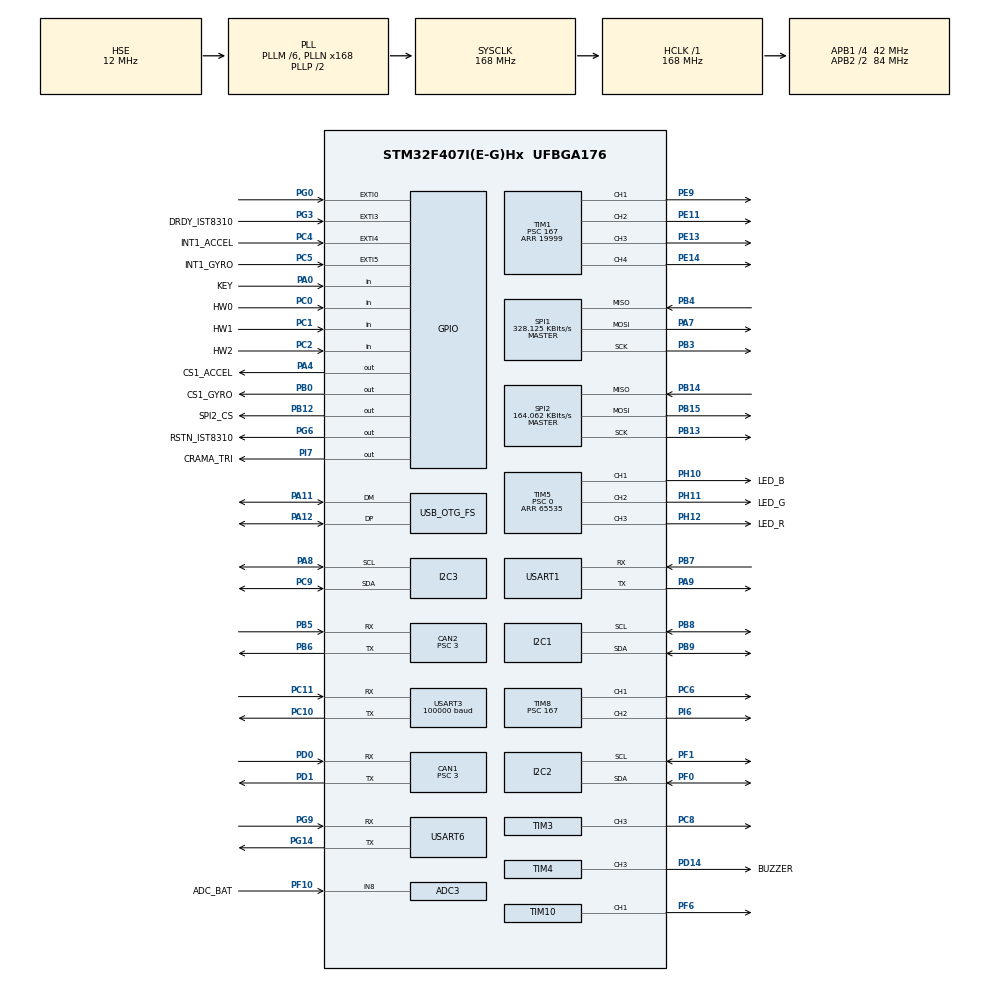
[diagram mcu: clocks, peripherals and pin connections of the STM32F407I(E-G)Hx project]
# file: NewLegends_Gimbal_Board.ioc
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ADC1.Channel-0\#ChannelRegularConversion=ADC_CHANNEL_TEMPSENSOR
ADC1.ClockPrescaler=ADC_CLOCK_SYNC_PCLK_DIV6
ADC1.NbrOfConversionFlag=1
ADC1.Rank-0\#ChannelRegularConversion=1
ADC1.SamplingTime-0\#ChannelRegularConversion=ADC_SAMPLETIME_3CYCLES
ADC1.master=1
ADC3.Channel-0\#ChannelRegularConversion=ADC_CHANNEL_8
ADC3.ClockPrescaler=ADC_CLOCK_SYNC_PCLK_DIV6
ADC3.NbrOfConversionFlag=1
ADC3.Rank-0\#ChannelRegularConversion=1
ADC3.SamplingTime-0\#ChannelRegularConversion=ADC_SAMPLETIME_3CYCLES
CAN1.BS1=CAN_BS1_10TQ
CAN1.BS2=CAN_BS2_3TQ
CAN1.CalculateBaudRate=1000000
CAN1.CalculateTimeBit=1000
CAN1.CalculateTimeQuantum=71.42857142857143
CAN1.Prescaler=3
CAN2.BS1=CAN_BS1_10TQ
CAN2.BS2=CAN_BS2_3TQ
CAN2.CalculateBaudRate=1000000
CAN2.CalculateTimeBit=1000
CAN2.CalculateTimeQuantum=71.42857142857143
CAN2.Prescaler=3
Dma.I2C2_TX.2.Direction=DMA_MEMORY_TO_PERIPH
Dma.I2C2_TX.2.FIFOMode=DMA_FIFOMODE_DISABLE
Dma.I2C2_TX.2.Instance=DMA1_Stream7
Dma.I2C2_TX.2.MemDataAlignment=DMA_MDATAALIGN_BYTE
Dma.I2C2_TX.2.MemInc=DMA_MINC_ENABLE
Dma.I2C2_TX.2.Mode=DMA_NORMAL
Dma.I2C2_TX.2.PeriphDataAlignment=DMA_PDATAALIGN_BYTE
Dma.I2C2_TX.2.PeriphInc=DMA_PINC_DISABLE
Dma.I2C2_TX.2.Priority=DMA_PRIORITY_HIGH
Dma.Request0=SPI1_RX
Dma.Request1=SPI1_TX
Dma.Request2=I2C2_TX
Dma.Request3=USART3_RX
Dma.Request4=USART6_RX
Dma.Request5=USART6_TX
Dma.Request6=USART1_TX
Dma.Request7=USART1_RX
Dma.SPI1_RX.0.Direction=DMA_PERIPH_TO_MEMORY
Dma.SPI1_RX.0.FIFOMode=DMA_FIFOMODE_DISABLE
Dma.SPI1_RX.0.Instance=DMA2_Stream2
Dma.SPI1_RX.0.MemDataAlignment=DMA_MDATAALIGN_BYTE
Dma.SPI1_RX.0.MemInc=DMA_MINC_ENABLE
Dma.SPI1_RX.0.Mode=DMA_NORMAL
Dma.SPI1_RX.0.PeriphDataAlignment=DMA_PDATAALIGN_BYTE
Dma.SPI1_RX.0.PeriphInc=DMA_PINC_DISABLE
Dma.SPI1_RX.0.Priority=DMA_PRIORITY_VERY_HIGH
Dma.SPI1_TX.1.Direction=DMA_MEMORY_TO_PERIPH
Dma.SPI1_TX.1.FIFOMode=DMA_FIFOMODE_DISABLE
Dma.SPI1_TX.1.Instance=DMA2_Stream3
Dma.SPI1_TX.1.MemDataAlignment=DMA_MDATAALIGN_BYTE
Dma.SPI1_TX.1.MemInc=DMA_MINC_ENABLE
Dma.SPI1_TX.1.Mode=DMA_NORMAL
Dma.SPI1_TX.1.PeriphDataAlignment=DMA_PDATAALIGN_BYTE
Dma.SPI1_TX.1.PeriphInc=DMA_PINC_DISABLE
Dma.SPI1_TX.1.Priority=DMA_PRIORITY_HIGH
Dma.USART1_RX.7.Direction=DMA_PERIPH_TO_MEMORY
Dma.USART1_RX.7.FIFOMode=DMA_FIFOMODE_DISABLE
Dma.USART1_RX.7.Instance=DMA2_Stream5
Dma.USART1_RX.7.MemDataAlignment=DMA_MDATAALIGN_BYTE
Dma.USART1_RX.7.MemInc=DMA_MINC_ENABLE
Dma.USART1_RX.7.Mode=DMA_NORMAL
Dma.USART1_RX.7.PeriphDataAlignment=DMA_PDATAALIGN_BYTE
Dma.USART1_RX.7.PeriphInc=DMA_PINC_DISABLE
Dma.USART1_RX.7.Priority=DMA_PRIORITY_VERY_HIGH
Dma.USART1_TX.6.Direction=DMA_MEMORY_TO_PERIPH
Dma.USART1_TX.6.FIFOMode=DMA_FIFOMODE_DISABLE
Dma.USART1_TX.6.Instance=DMA2_Stream7
Dma.USART1_TX.6.MemDataAlignment=DMA_MDATAALIGN_BYTE
Dma.USART1_TX.6.MemInc=DMA_MINC_ENABLE
Dma.USART1_TX.6.Mode=DMA_NORMAL
Dma.USART1_TX.6.PeriphDataAlignment=DMA_PDATAALIGN_BYTE
Dma.USART1_TX.6.PeriphInc=DMA_PINC_DISABLE
Dma.USART1_TX.6.Priority=DMA_PRIORITY_MEDIUM
Dma.USART3_RX.3.Direction=DMA_PERIPH_TO_MEMORY
Dma.USART3_RX.3.FIFOMode=DMA_FIFOMODE_DISABLE
Dma.USART3_RX.3.Instance=DMA1_Stream1
Dma.USART3_RX.3.MemDataAlignment=DMA_MDATAALIGN_BYTE
Dma.USART3_RX.3.MemInc=DMA_MINC_ENABLE
Dma.USART3_RX.3.Mode=DMA_NORMAL
Dma.USART3_RX.3.PeriphDataAlignment=DMA_PDATAALIGN_BYTE
Dma.USART3_RX.3.PeriphInc=DMA_PINC_DISABLE
Dma.USART3_RX.3.Priority=DMA_PRIORITY_HIGH
Dma.USART6_RX.4.Direction=DMA_PERIPH_TO_MEMORY
Dma.USART6_RX.4.FIFOMode=DMA_FIFOMODE_DISABLE
Dma.USART6_RX.4.Instance=DMA2_Stream1
Dma.USART6_RX.4.MemDataAlignment=DMA_MDATAALIGN_BYTE
Dma.USART6_RX.4.MemInc=DMA_MINC_ENABLE
Dma.USART6_RX.4.Mode=DMA_NORMAL
Dma.USART6_RX.4.PeriphDataAlignment=DMA_PDATAALIGN_BYTE
Dma.USART6_RX.4.PeriphInc=DMA_PINC_DISABLE
Dma.USART6_RX.4.Priority=DMA_PRIORITY_HIGH
Dma.USART6_TX.5.Direction=DMA_MEMORY_TO_PERIPH
Dma.USART6_TX.5.FIFOMode=DMA_FIFOMODE_DISABLE
Dma.USART6_TX.5.Instance=DMA2_Stream6
Dma.USART6_TX.5.MemDataAlignment=DMA_MDATAALIGN_BYTE
Dma.USART6_TX.5.MemInc=DMA_MINC_ENABLE
Dma.USART6_TX.5.Mode=DMA_NORMAL
Dma.USART6_TX.5.PeriphDataAlignment=DMA_PDATAALIGN_BYTE
Dma.USART6_TX.5.PeriphInc=DMA_PINC_DISABLE
Dma.USART6_TX.5.Priority=DMA_PRIORITY_MEDIUM
FREERTOS.INCLUDE_eTaskGetState=1
FREERTOS.INCLUDE_pcTaskGetTaskName=1
FREERTOS.INCLUDE_uxTaskGetStackHighWaterMark=1
FREERTOS.INCLUDE_vTaskCleanUpResources=1
FREERTOS.INCLUDE_vTaskDelayUntil=1
FREERTOS.INCLUDE_xEventGroupSetBitFromISR=1
FREERTOS.INCLUDE_xQueueGetMutexHolder=1
FREERTOS.INCLUDE_xSemaphoreGetMutexHolder=1
FREERTOS.INCLUDE_xTaskAbortDelay=1
FREERTOS.INCLUDE_xTaskGetCurrentTaskHandle=1
FREERTOS.INCLUDE_xTaskGetHandle=1
FREERTOS.INCLUDE_xTimerPendFunctionCall=1
FREERTOS.Tasks01=test,24,128,test_task,As weak,NULL,Dynamic,NULL,NULL
FREERTOS.configTOTAL_HEAP_SIZE=24576
I2C1.I2C_Mode=I2C_Fast
I2C2.I2C_Mode=I2C_Fast
I2C3.I2C_Mode=I2C_Fast
Mcu.Family=STM32F4
Mcu.Name=STM32F407I(E-G)Hx
Mcu.Package=UFBGA176
NVIC.CAN1_RX0_IRQn=true\:6\:0\:true\:false\:true\:true\:true\:true\:true
NVIC.CAN2_RX0_IRQn=true\:6\:0\:true\:false\:true\:true\:true\:true\:true
NVIC.DMA1_Stream1_IRQn=true\:5\:0\:true\:false\:false\:true\:false\:false\:true
NVIC.DMA1_Stream7_IRQn=true\:5\:0\:true\:false\:false\:true\:false\:true\:true
NVIC.DMA2_Stream1_IRQn=true\:5\:0\:true\:false\:true\:true\:false\:true\:true
NVIC.DMA2_Stream2_IRQn=true\:5\:0\:true\:false\:false\:true\:false\:true\:true
NVIC.DMA2_Stream3_IRQn=true\:5\:0\:true\:false\:false\:true\:false\:true\:true
NVIC.DMA2_Stream5_IRQn=true\:5\:0\:false\:false\:true\:true\:false\:true\:true
NVIC.DMA2_Stream6_IRQn=true\:5\:0\:true\:false\:true\:true\:false\:true\:true
NVIC.DMA2_Stream7_IRQn=true\:5\:0\:true\:false\:true\:true\:false\:true\:true
NVIC.EXTI0_IRQn=true\:6\:0\:true\:false\:true\:true\:true\:true\:true
NVIC.EXTI3_IRQn=true\:5\:0\:true\:false\:true\:true\:true\:true\:true
NVIC.EXTI4_IRQn=true\:5\:0\:true\:false\:true\:true\:true\:true\:true
NVIC.EXTI9_5_IRQn=true\:5\:0\:true\:false\:true\:true\:true\:true\:true
NVIC.OTG_FS_IRQn=true\:5\:0\:false\:false\:true\:true\:false\:true\:true
NVIC.PriorityGroup=NVIC_PRIORITYGROUP_4
NVIC.TIM1_UP_TIM10_IRQn=true\:5\:0\:false\:false\:true\:true\:true\:true\:true
NVIC.USART1_IRQn=true\:5\:0\:false\:false\:true\:true\:true\:true\:true
NVIC.USART3_IRQn=true\:4\:0\:true\:false\:false\:false\:true\:true\:true
NVIC.USART6_IRQn=true\:5\:0\:true\:false\:false\:true\:true\:true\:true
PA0-WKUP.GPIO_Label=KEY
PA0-WKUP.GPIO_PuPd=GPIO_PULLUP
PA0-WKUP.Signal=GPIO_Input
PA11.Mode=Device_Only
PA11.Signal=USB_OTG_FS_DM
PA12.Mode=Device_Only
PA12.Signal=USB_OTG_FS_DP
PA13.Mode=Serial_Wire
PA13.Signal=SYS_JTMS-SWDIO
PA14.Mode=Serial_Wire
PA14.Signal=SYS_JTCK-SWCLK
PA4.GPIO_Label=CS1_ACCEL
PA4.GPIO_PuPd=GPIO_PULLUP
PA4.GPIO_Speed=GPIO_SPEED_FREQ_HIGH
PA4.PinState=GPIO_PIN_SET
PA4.Signal=GPIO_Output
PA7.GPIO_PuPd=GPIO_PULLUP
PA7.Mode=Full_Duplex_Master
PA7.Signal=SPI1_MOSI
PA8.GPIO_Pu=GPIO_PULLUP
PA8.Mode=I2C
PA8.Signal=I2C3_SCL
PA9.Mode=Asynchronous
PA9.Signal=USART1_TX
PB0.GPIO_Label=CS1_GYRO
PB0.GPIO_PuPd=GPIO_PULLUP
PB0.GPIO_Speed=GPIO_SPEED_FREQ_HIGH
PB0.PinState=GPIO_PIN_SET
PB0.Signal=GPIO_Output
PB12.GPIO_Label=SPI2_CS
PB12.GPIO_PuPd=GPIO_PULLUP
PB12.GPIO_Speed=GPIO_SPEED_FREQ_MEDIUM
PB12.PinState=GPIO_PIN_SET
PB12.Signal=GPIO_Output
PB13.GPIO_PuPd=GPIO_PULLUP
PB13.Mode=Full_Duplex_Master
PB13.Signal=SPI2_SCK
PB14.GPIO_PuPd=GPIO_PULLUP
PB14.Mode=Full_Duplex_Master
PB14.Signal=SPI2_MISO
PB15.GPIO_PuPd=GPIO_PULLUP
PB15.Mode=Full_Duplex_Master
PB15.Signal=SPI2_MOSI
PB3.GPIO_PuPd=GPIO_PULLUP
PB3.Mode=Full_Duplex_Master
PB3.Signal=SPI1_SCK
PB4.GPIO_PuPd=GPIO_PULLUP
PB4.Mode=Full_Duplex_Master
PB4.Signal=SPI1_MISO
PB5.Mode=CAN_Activate
PB5.Signal=CAN2_RX
PB6.Mode=CAN_Activate
PB6.Signal=CAN2_TX
PB7.Mode=Asynchronous
PB7.Signal=USART1_RX
PB8.GPIO_Pu=GPIO_PULLUP
PB8.Mode=I2C
PB8.Signal=I2C1_SCL
PB9.GPIO_Pu=GPIO_PULLUP
PB9.Mode=I2C
PB9.Signal=I2C1_SDA
PC0.GPIO_Label=HW0
PC0.Signal=GPIO_Input
PC1.GPIO_Label=HW1
PC1.Signal=GPIO_Input
PC10.Mode=Asynchronous
PC10.Signal=USART3_TX
PC11.Mode=Asynchronous
PC11.Signal=USART3_RX
PC2.GPIO_Label=HW2
PC2.Signal=GPIO_Input
PC4.GPIO_Label=INT1_ACCEL
PC4.GPIO_ModeDefaultEXTI=GPIO_MODE_IT_FALLING
PC4.GPIO_PuPd=GPIO_PULLUP
PC4.Signal=GPXTI4
PC5.GPIO_Label=INT1_GYRO
PC5.GPIO_ModeDefaultEXTI=GPIO_MODE_IT_FALLING
PC5.GPIO_PuPd=GPIO_PULLUP
PC5.Signal=GPXTI5
PC6.GPIO_PuPd=GPIO_PULLUP
PC6.GPIO_Speed=GPIO_SPEED_FREQ_HIGH
PC6.Signal=S_TIM8_CH1
PC8.GPIO_PuPd=GPIO_PULLUP
PC8.GPIO_Speed=GPIO_SPEED_FREQ_HIGH
PC8.Signal=S_TIM3_CH3
PC9.GPIO_Pu=GPIO_PULLUP
PC9.Mode=I2C
PC9.Signal=I2C3_SDA
PD0.Mode=CAN_Activate
PD0.Signal=CAN1_RX
PD1.Mode=CAN_Activate
PD1.Signal=CAN1_TX
PD14.GPIO_Label=BUZZER
PD14.GPIO_PuPd=GPIO_PULLUP
PD14.GPIO_Speed=GPIO_SPEED_FREQ_VERY_HIGH
PD14.Signal=S_TIM4_CH3
PE11.GPIO_ModeDefaultPP=GPIO_MODE_AF_PP
PE11.GPIO_PuPd=GPIO_PULLUP
PE11.GPIO_Speed=GPIO_SPEED_FREQ_HIGH
PE11.Signal=S_TIM1_CH2
PE13.GPIO_ModeDefaultPP=GPIO_MODE_AF_PP
PE13.GPIO_PuPd=GPIO_PULLUP
PE13.GPIO_Speed=GPIO_SPEED_FREQ_HIGH
PE13.Signal=S_TIM1_CH3
PE14.GPIO_ModeDefaultPP=GPIO_MODE_AF_PP
PE14.GPIO_PuPd=GPIO_PULLUP
PE14.GPIO_Speed=GPIO_SPEED_FREQ_HIGH
PE14.Signal=S_TIM1_CH4
PE9.GPIO_ModeDefaultPP=GPIO_MODE_AF_PP
PE9.GPIO_PuPd=GPIO_PULLUP
PE9.GPIO_Speed=GPIO_SPEED_FREQ_HIGH
PE9.Signal=S_TIM1_CH1
PF0.GPIO_Pu=GPIO_PULLUP
PF0.Mode=I2C
PF0.Signal=I2C2_SDA
PF1.GPIO_Pu=GPIO_PULLUP
PF1.Mode=I2C
PF1.Signal=I2C2_SCL
PF10.GPIO_Label=ADC_BAT
PF10.Mode=IN8
PF10.Signal=ADC3_IN8
PF6.GPIO_PuPd=GPIO_PULLUP
PF6.GPIO_Speed=GPIO_SPEED_FREQ_HIGH
PF6.Signal=S_TIM10_CH1
PG0.GPIO_ModeDefaultEXTI=GPIO_MODE_IT_FALLING
PG0.GPIO_PuPd=GPIO_PULLUP
PG0.Signal=GPXTI0
PG14.Mode=Asynchronous
PG14.Signal=USART6_TX
PG3.GPIO_Label=DRDY_IST8310
PG3.GPIO_ModeDefaultEXTI=GPIO_MODE_IT_FALLING
PG3.GPIO_PuPd=GPIO_PULLUP
PG3.Signal=GPXTI3
PG6.GPIO_Label=RSTN_IST8310
PG6.GPIO_PuPd=GPIO_PULLUP
PG6.GPIO_Speed=GPIO_SPEED_FREQ_MEDIUM
PG6.PinState=GPIO_PIN_SET
PG6.Signal=GPIO_Output
PG9.Mode=Asynchronous
PG9.Signal=USART6_RX
PH0-OSC_IN.Mode=HSE-External-Oscillator
PH0-OSC_IN.Signal=RCC_OSC_IN
PH1-OSC_OUT.Mode=HSE-External-Oscillator
PH1-OSC_OUT.Signal=RCC_OSC_OUT
PH10.GPIO_Label=LED_B
PH10.GPIO_PuPd=GPIO_PULLUP
PH10.GPIO_Speed=GPIO_SPEED_FREQ_HIGH
PH10.Signal=S_TIM5_CH1
PH11.GPIO_Label=LED_G
PH11.GPIO_PuPd=GPIO_PULLUP
PH11.GPIO_Speed=GPIO_SPEED_FREQ_HIGH
PH11.Signal=S_TIM5_CH2
PH12.GPIO_Label=LED_R
PH12.GPIO_PuPd=GPIO_PULLUP
PH12.GPIO_Speed=GPIO_SPEED_FREQ_HIGH
PH12.Signal=S_TIM5_CH3
PI6.GPIO_PuPd=GPIO_PULLUP
PI6.GPIO_Speed=GPIO_SPEED_FREQ_HIGH
PI6.Signal=S_TIM8_CH2
PI7.GPIO_Label=CRAMA_TRI
PI7.GPIO_PuPd=GPIO_PULLUP
PI7.Signal=GPIO_Output
ProjectManager.HeapSize=0x2000
ProjectManager.StackSize=0x2000
ProjectManager.TargetToolchain=MDK-ARM V5.32
RCC.48MHZClocksFreq_Value=48000000
RCC.AHBFreq_Value=168000000
RCC.APB1CLKDivider=RCC_HCLK_DIV4
RCC.APB1Freq_Value=42000000
RCC.APB1TimFreq_Value=84000000
RCC.APB2CLKDivider=RCC_HCLK_DIV2
RCC.APB2Freq_Value=84000000
RCC.APB2TimFreq_Value=168000000
RCC.CortexFreq_Value=168000000
RCC.HCLKFreq_Value=168000000
RCC.HSE_VALUE=12000000
RCC.HSI_VALUE=16000000
RCC.LSE_VALUE=32768
RCC.PLLM=6
RCC.PLLN=168
RCC.PLLQ=7
RCC.RCC_RTC_Clock_SourceVirtual=RCC_RTCCLKSOURCE_HSE_DIV30
RCC.RCC_RTC_Clock_Source_FROM_HSE=RCC_RTCCLKSOURCE_HSE_DIV30
RCC.SYSCLKFreq_VALUE=168000000
RCC.SYSCLKSource=RCC_SYSCLKSOURCE_PLLCLK
RCC.VCOOutputFreq_Value=336000000
RTC.AsynchPrediv=124
RTC.SynchPrediv=3199
SH.S_TIM10_CH1.0=TIM10_CH1,PWM Generation1 CH1
SH.S_TIM1_CH1.0=TIM1_CH1,PWM Generation1 CH1
SH.S_TIM1_CH2.0=TIM1_CH2,PWM Generation2 CH2
SH.S_TIM1_CH3.0=TIM1_CH3,PWM Generation3 CH3
SH.S_TIM1_CH4.0=TIM1_CH4,PWM Generation4 CH4
SH.S_TIM3_CH3.0=TIM3_CH3,PWM Generation3 CH3
SH.S_TIM4_CH3.0=TIM4_CH3,PWM Generation3 CH3
SH.S_TIM5_CH1.0=TIM5_CH1,PWM Generation1 CH1
SH.S_TIM5_CH2.0=TIM5_CH2,PWM Generation2 CH2
SH.S_TIM5_CH3.0=TIM5_CH3,PWM Generation3 CH3
SH.S_TIM8_CH1.0=TIM8_CH1,PWM Generation1 CH1
SH.S_TIM8_CH2.0=TIM8_CH2,PWM Generation2 CH2
SPI1.BaudRatePrescaler=SPI_BAUDRATEPRESCALER_256
SPI1.CLKPhase=SPI_PHASE_2EDGE
SPI1.CLKPolarity=SPI_POLARITY_HIGH
SPI1.CalculateBaudRate=328.125 KBits/s
SPI1.Direction=SPI_DIRECTION_2LINES
SPI1.Mode=SPI_MODE_MASTER
SPI1.VirtualType=VM_MASTER
SPI2.BaudRatePrescaler=SPI_BAUDRATEPRESCALER_256
SPI2.CLKPhase=SPI_PHASE_2EDGE
SPI2.CLKPolarity=SPI_POLARITY_HIGH
SPI2.CalculateBaudRate=164.062 KBits/s
SPI2.Direction=SPI_DIRECTION_2LINES
SPI2.Mode=SPI_MODE_MASTER
SPI2.VirtualType=VM_MASTER
TIM1.Channel-PWM\ Generation1\ CH1=TIM_CHANNEL_1
TIM1.Channel-PWM\ Generation2\ CH2=TIM_CHANNEL_2
TIM1.Channel-PWM\ Generation3\ CH3=TIM_CHANNEL_3
TIM1.Channel-PWM\ Generation4\ CH4=TIM_CHANNEL_4
TIM1.Period=19999
TIM1.Prescaler=167
TIM1.Pulse-PWM\ Generation1\ CH1=2000
TIM1.Pulse-PWM\ Generation2\ CH2=2000
TIM1.Pulse-PWM\ Generation3\ CH3=2000
TIM1.Pulse-PWM\ Generation4\ CH4=2000
TIM10.Channel=TIM_CHANNEL_1
TIM10.Period=4999
TIM3.Channel-PWM\ Generation3\ CH3=TIM_CHANNEL_3
TIM3.Period=8399
TIM4.Channel-PWM\ Generation3\ CH3=TIM_CHANNEL_3
TIM4.Period=65535
TIM4.Prescaler=167
TIM5.Channel-PWM\ Generation1\ CH1=TIM_CHANNEL_1
TIM5.Channel-PWM\ Generation2\ CH2=TIM_CHANNEL_2
TIM5.Channel-PWM\ Generation3\ CH3=TIM_CHANNEL_3
TIM5.Period=65535
TIM5.Prescaler=0
TIM8.Channel-PWM\ Generation1\ CH1=TIM_CHANNEL_1
TIM8.Channel-PWM\ Generation2\ CH2=TIM_CHANNEL_2
TIM8.Period=19999
TIM8.Prescaler=167
TIM8.Pulse-PWM\ Generation1\ CH1=1000
TIM8.Pulse-PWM\ Generation2\ CH2=1000
USART1.VirtualMode=VM_ASYNC
USART3.BaudRate=100000
USART3.Parity=PARITY_EVEN
USART3.VirtualMode=VM_ASYNC
USART6.VirtualMode=VM_ASYNC
USB_DEVICE.CLASS_NAME_FS=CDC
USB_DEVICE.VirtualMode-CDC_FS=Cdc
USB_DEVICE.VirtualModeFS=Cdc_FS
USB_OTG_FS.VirtualMode=Device_Only
VP_ADC1_TempSens_Input.Mode=IN-TempSens
VP_ADC1_Vref_Input.Mode=IN-Vrefint
VP_CRC_VS_CRC.Mode=CRC_Activate
VP_FREERTOS_VS_CMSIS_V1.Mode=CMSIS_V1
VP_RNG_VS_RNG.Mode=RNG_Activate
VP_RTC_VS_RTC_Activate.Mode=RTC_Enabled
VP_TIM10_VS_ClockSourceINT.Mode=Enable_Timer
VP_TIM1_VS_ClockSourceINT.Mode=Internal
VP_TIM3_VS_ClockSourceINT.Mode=Internal
VP_TIM4_VS_ClockSourceINT.Mode=Internal
VP_TIM5_VS_ClockSourceINT.Mode=Internal
VP_TIM8_VS_ClockSourceINT.Mode=Internal
VP_USB_DEVICE_VS_USB_DEVICE_CDC_FS.Mode=CDC_FS
board=custom

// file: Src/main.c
/* USER CODE BEGIN Header */
/**
  ******************************************************************************
  * @file           : main.c
  * @brief          : Main program body
  ******************************************************************************
  * @attention
  *
  * <h2><center>&copy; Copyright (c) 2021 STMicroelectronics.
  * All rights reserved.</center></h2>
  *
  * This software component is licensed by ST under Ultimate Liberty license
  * SLA0044, the "License"; You may not use this file except in compliance with
  * the License. You may obtain a copy of the License at:
  *                             www.st.com/SLA0044
  *
  ******************************************************************************
  */
/* USER CODE END Header */
#include "main.h"
#include "cmsis_os.h"
#include "adc.h"
#include "can.h"
#include "crc.h"
#include "dma.h"
#include "i2c.h"
#include "rng.h"
#include "rtc.h"
#include "spi.h"
#include "tim.h"
#include "usart.h"
#include "usb_device.h"
#include "gpio.h"
#include "usb_device.h"

/* USER CODE BEGIN Includes */
#include "bsp_buzzer.h"
/* USER CODE END Includes */

void SystemClock_Config(void);
void MX_FREERTOS_Init(void);

int main(void)
{

  /* MCU Configuration--------------------------------------------------------*/

  /* Reset of all peripherals, Initializes the Flash interface and the Systick. */

  HAL_Init();

  /* Configure the system clock */
  SystemClock_Config();

  /* Initialize all configured peripherals */
  MX_GPIO_Init();
  MX_DMA_Init();
  MX_ADC1_Init();
  MX_ADC3_Init();
  MX_CAN1_Init();
  MX_CAN2_Init();
  MX_I2C1_Init();
  MX_SPI1_Init();
  MX_TIM4_Init();
  MX_TIM5_Init();
  MX_USART3_UART_Init();
  MX_TIM8_Init();
  MX_CRC_Init();
  MX_RNG_Init();
  MX_I2C2_Init();
  MX_I2C3_Init();
  MX_RTC_Init();
  MX_SPI2_Init();
  MX_TIM1_Init();
  MX_TIM3_Init();
  MX_TIM10_Init();
  MX_USART1_UART_Init();
  MX_USART6_UART_Init();
  /* USER CODE BEGIN 2 */
	HAL_TIM_Base_Start(&htim1);
    HAL_TIM_PWM_Start(&htim1, TIM_CHANNEL_1);
    HAL_TIM_PWM_Start(&htim1, TIM_CHANNEL_2);
    HAL_TIM_PWM_Start(&htim1, TIM_CHANNEL_3);
    HAL_TIM_PWM_Start(&htim1, TIM_CHANNEL_4);
  /* USER CODE END 2 */

  /* Call init function for freertos objects (in freertos.c) */
  MX_FREERTOS_Init();
  /* Start scheduler */
  osKernelStart();

  /* We should never get here as control is now taken by the scheduler */
  /* Infinite loop */
  while (1)
  {

  }
}

void SystemClock_Config(void)
{
  RCC_OscInitTypeDef RCC_OscInitStruct = {0};
  RCC_ClkInitTypeDef RCC_ClkInitStruct = {0};

  /** Configure the main internal regulator output voltage
  */
  __HAL_RCC_PWR_CLK_ENABLE();
  __HAL_PWR_VOLTAGESCALING_CONFIG(PWR_REGULATOR_VOLTAGE_SCALE1);
  /** Initializes the RCC Oscillators according to the specified parameters
  * in the RCC_OscInitTypeDef structure.
  */
  RCC_OscInitStruct.OscillatorType = RCC_OSCILLATORTYPE_HSE;
  RCC_OscInitStruct.HSEState = RCC_HSE_ON;
  RCC_OscInitStruct.PLL.PLLState = RCC_PLL_ON;
  RCC_OscInitStruct.PLL.PLLSource = RCC_PLLSOURCE_HSE;
  RCC_OscInitStruct.PLL.PLLM = 6;
  RCC_OscInitStruct.PLL.PLLN = 168;
  RCC_OscInitStruct.PLL.PLLP = RCC_PLLP_DIV2;
  RCC_OscInitStruct.PLL.PLLQ = 7;
  if (HAL_RCC_OscConfig(&RCC_OscInitStruct) != HAL_OK)
  {
    Error_Handler();
  }
  /** Initializes the CPU, AHB and APB buses clocks
  */
  RCC_ClkInitStruct.ClockType = RCC_CLOCKTYPE_HCLK|RCC_CLOCKTYPE_SYSCLK
                              |RCC_CLOCKTYPE_PCLK1|RCC_CLOCKTYPE_PCLK2;
  RCC_ClkInitStruct.SYSCLKSource = RCC_SYSCLKSOURCE_PLLCLK;
  RCC_ClkInitStruct.AHBCLKDivider = RCC_SYSCLK_DIV1;
  RCC_ClkInitStruct.APB1CLKDivider = RCC_HCLK_DIV4;
  RCC_ClkInitStruct.APB2CLKDivider = RCC_HCLK_DIV2;

  if (HAL_RCC_ClockConfig(&RCC_ClkInitStruct, FLASH_LATENCY_5) != HAL_OK)
  {
    Error_Handler();
  }
}

void Error_Handler(void)
{
}

/************************ (C) COPYRIGHT STMicroelectronics *****END OF FILE****/

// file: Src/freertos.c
/* USER CODE BEGIN Header */
/**
  ******************************************************************************
  * File Name          : freertos.c
  * Description        : Code for freertos applications
  ******************************************************************************
  * @attention
  *
  * <h2><center>&copy; Copyright (c) 2021 STMicroelectronics.
  * All rights reserved.</center></h2>
  *
  * This software component is licensed by ST under Ultimate Liberty license
  * SLA0044, the "License"; You may not use this file except in compliance with
  * the License. You may obtain a copy of the License at:
  *                             www.st.com/SLA0044
  *
  ******************************************************************************
  */
/* USER CODE END Header */

#include "FreeRTOS.h"
#include "task.h"
#include "main.h"
#include "cmsis_os.h"

/* USER CODE BEGIN Includes */
#include "start_task.h"
/* USER CODE END Includes */

osThreadId testHandle;

/* USER CODE BEGIN FunctionPrototypes */
osThreadId startTaskHandle;
void start_task(void const *argument);
/* USER CODE END FunctionPrototypes */

void test_task(void const * argument);

extern void MX_USB_DEVICE_Init(void);
void MX_FREERTOS_Init(void); /* (MISRA C 2004 rule 8.1) */

/* GetIdleTaskMemory prototype (linked to static allocation support) */
void vApplicationGetIdleTaskMemory( StaticTask_t **ppxIdleTaskTCBBuffer, StackType_t **ppxIdleTaskStackBuffer, uint32_t *pulIdleTaskStackSize );

/* GetTimerTaskMemory prototype (linked to static allocation support) */
void vApplicationGetTimerTaskMemory( StaticTask_t **ppxTimerTaskTCBBuffer, StackType_t **ppxTimerTaskStackBuffer, uint32_t *pulTimerTaskStackSize );

/* USER CODE BEGIN GET_IDLE_TASK_MEMORY */
static StaticTask_t xIdleTaskTCBBuffer;
static StackType_t xIdleStack[configMINIMAL_STACK_SIZE];

void vApplicationGetIdleTaskMemory( StaticTask_t **ppxIdleTaskTCBBuffer, StackType_t **ppxIdleTaskStackBuffer, uint32_t *pulIdleTaskStackSize )
{
  *ppxIdleTaskTCBBuffer = &xIdleTaskTCBBuffer;
  *ppxIdleTaskStackBuffer = &xIdleStack[0];
  *pulIdleTaskStackSize = configMINIMAL_STACK_SIZE;
  /* place for user code */
}
/* USER CODE END GET_IDLE_TASK_MEMORY */

/* USER CODE BEGIN GET_TIMER_TASK_MEMORY */
static StaticTask_t xTimerTaskTCBBuffer;
static StackType_t xTimerStack[configTIMER_TASK_STACK_DEPTH];

void vApplicationGetTimerTaskMemory( StaticTask_t **ppxTimerTaskTCBBuffer, StackType_t **ppxTimerTaskStackBuffer, uint32_t *pulTimerTaskStackSize )
{
  *ppxTimerTaskTCBBuffer = &xTimerTaskTCBBuffer;
  *ppxTimerTaskStackBuffer = &xTimerStack[0];
  *pulTimerTaskStackSize = configTIMER_TASK_STACK_DEPTH;
  /* place for user code */
}
/* USER CODE END GET_TIMER_TASK_MEMORY */

void MX_FREERTOS_Init(void) {

  /* Create the thread(s) */
  /* definition and creation of test */
  osThreadDef(test, test_task, osPriorityNormal, 0, 128);
  testHandle = osThreadCreate(osThread(test), NULL);

  /* USER CODE BEGIN RTOS_THREADS */
  /* add threads, ... */
  osThreadDef(start, start_task, osPriorityNormal, 0, 128);
  startTaskHandle = osThreadCreate(osThread(start), NULL);

  /* USER CODE END RTOS_THREADS */

}

__weak void test_task(void const * argument)
{
  /* init code for USB_DEVICE */
  MX_USB_DEVICE_Init();
  /* USER CODE BEGIN test_task */
  /* Infinite loop */
  while(1)
  {
    // HAL_GPIO_WritePin(CRAMA_TRI_GPIO_Port, CRAMA_TRI_Pin,GPIO_PIN_SET);
    // vision_send_data(0x02);
    // HAL_GPIO_WritePin(CRAMA_TRI_GPIO_Port, CRAMA_TRI_Pin,GPIO_PIN_RESET);
  }
  /* USER CODE END test_task */
}

/* USER CODE BEGIN Application */
__weak void start_task(void const * argument)
{
    /* init code for USB_DEVICE */
    System_Resource_Init();
    /* USER CODE BEGIN test_task */
    /* Infinite loop */
    while(1) {
        Task_start();
        /* Delete the default task. */
        osThreadTerminate(startTaskHandle);

    }
    /* USER CODE END test_task */
}
/* USER CODE END Application */

/************************ (C) COPYRIGHT STMicroelectronics *****END OF FILE****/
